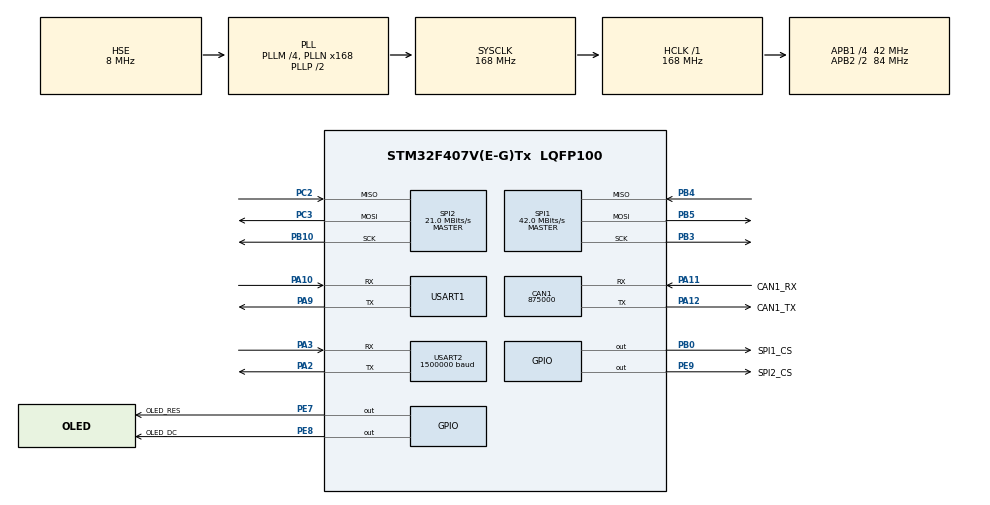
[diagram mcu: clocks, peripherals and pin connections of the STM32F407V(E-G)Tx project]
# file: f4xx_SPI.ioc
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CAN1.CalculateBaudRate=875000
CAN1.CalculateTimeBit=1142
CAN1.CalculateTimeQuantum=380.95238095238096
Dma.Request0=USART1_RX
Dma.Request1=USART1_TX
Dma.Request2=SPI1_RX
Dma.Request3=SPI1_TX
Dma.Request4=SPI2_RX
Dma.Request5=SPI2_TX
Dma.Request6=USART2_RX
Dma.Request7=USART2_TX
Dma.SPI1_RX.2.Direction=DMA_PERIPH_TO_MEMORY
Dma.SPI1_RX.2.FIFOMode=DMA_FIFOMODE_DISABLE
Dma.SPI1_RX.2.Instance=DMA2_Stream0
Dma.SPI1_RX.2.MemDataAlignment=DMA_MDATAALIGN_BYTE
Dma.SPI1_RX.2.MemInc=DMA_MINC_ENABLE
Dma.SPI1_RX.2.Mode=DMA_NORMAL
Dma.SPI1_RX.2.PeriphDataAlignment=DMA_PDATAALIGN_BYTE
Dma.SPI1_RX.2.PeriphInc=DMA_PINC_DISABLE
Dma.SPI1_RX.2.Priority=DMA_PRIORITY_HIGH
Dma.SPI1_TX.3.Direction=DMA_MEMORY_TO_PERIPH
Dma.SPI1_TX.3.FIFOMode=DMA_FIFOMODE_DISABLE
Dma.SPI1_TX.3.Instance=DMA2_Stream3
Dma.SPI1_TX.3.MemDataAlignment=DMA_MDATAALIGN_BYTE
Dma.SPI1_TX.3.MemInc=DMA_MINC_ENABLE
Dma.SPI1_TX.3.Mode=DMA_NORMAL
Dma.SPI1_TX.3.PeriphDataAlignment=DMA_PDATAALIGN_BYTE
Dma.SPI1_TX.3.PeriphInc=DMA_PINC_DISABLE
Dma.SPI1_TX.3.Priority=DMA_PRIORITY_HIGH
Dma.SPI2_RX.4.Direction=DMA_PERIPH_TO_MEMORY
Dma.SPI2_RX.4.FIFOMode=DMA_FIFOMODE_DISABLE
Dma.SPI2_RX.4.Instance=DMA1_Stream3
Dma.SPI2_RX.4.MemDataAlignment=DMA_MDATAALIGN_BYTE
Dma.SPI2_RX.4.MemInc=DMA_MINC_ENABLE
Dma.SPI2_RX.4.Mode=DMA_NORMAL
Dma.SPI2_RX.4.PeriphDataAlignment=DMA_PDATAALIGN_BYTE
Dma.SPI2_RX.4.PeriphInc=DMA_PINC_DISABLE
Dma.SPI2_RX.4.Priority=DMA_PRIORITY_VERY_HIGH
Dma.SPI2_TX.5.Direction=DMA_MEMORY_TO_PERIPH
Dma.SPI2_TX.5.FIFOMode=DMA_FIFOMODE_DISABLE
Dma.SPI2_TX.5.Instance=DMA1_Stream4
Dma.SPI2_TX.5.MemDataAlignment=DMA_MDATAALIGN_BYTE
Dma.SPI2_TX.5.MemInc=DMA_MINC_ENABLE
Dma.SPI2_TX.5.Mode=DMA_NORMAL
Dma.SPI2_TX.5.PeriphDataAlignment=DMA_PDATAALIGN_BYTE
Dma.SPI2_TX.5.PeriphInc=DMA_PINC_DISABLE
Dma.SPI2_TX.5.Priority=DMA_PRIORITY_VERY_HIGH
Dma.USART1_RX.0.Direction=DMA_PERIPH_TO_MEMORY
Dma.USART1_RX.0.FIFOMode=DMA_FIFOMODE_DISABLE
Dma.USART1_RX.0.Instance=DMA2_Stream2
Dma.USART1_RX.0.MemDataAlignment=DMA_MDATAALIGN_BYTE
Dma.USART1_RX.0.MemInc=DMA_MINC_ENABLE
Dma.USART1_RX.0.Mode=DMA_NORMAL
Dma.USART1_RX.0.PeriphDataAlignment=DMA_PDATAALIGN_BYTE
Dma.USART1_RX.0.PeriphInc=DMA_PINC_DISABLE
Dma.USART1_RX.0.Priority=DMA_PRIORITY_LOW
Dma.USART1_TX.1.Direction=DMA_MEMORY_TO_PERIPH
Dma.USART1_TX.1.FIFOMode=DMA_FIFOMODE_DISABLE
Dma.USART1_TX.1.Instance=DMA2_Stream7
Dma.USART1_TX.1.MemDataAlignment=DMA_MDATAALIGN_BYTE
Dma.USART1_TX.1.MemInc=DMA_MINC_ENABLE
Dma.USART1_TX.1.Mode=DMA_NORMAL
Dma.USART1_TX.1.PeriphDataAlignment=DMA_PDATAALIGN_BYTE
Dma.USART1_TX.1.PeriphInc=DMA_PINC_DISABLE
Dma.USART1_TX.1.Priority=DMA_PRIORITY_LOW
Dma.USART2_RX.6.Direction=DMA_PERIPH_TO_MEMORY
Dma.USART2_RX.6.FIFOMode=DMA_FIFOMODE_DISABLE
Dma.USART2_RX.6.Instance=DMA1_Stream5
Dma.USART2_RX.6.MemDataAlignment=DMA_MDATAALIGN_BYTE
Dma.USART2_RX.6.MemInc=DMA_MINC_ENABLE
Dma.USART2_RX.6.Mode=DMA_NORMAL
Dma.USART2_RX.6.PeriphDataAlignment=DMA_PDATAALIGN_BYTE
Dma.USART2_RX.6.PeriphInc=DMA_PINC_DISABLE
Dma.USART2_RX.6.Priority=DMA_PRIORITY_HIGH
Dma.USART2_TX.7.Direction=DMA_MEMORY_TO_PERIPH
Dma.USART2_TX.7.FIFOMode=DMA_FIFOMODE_DISABLE
Dma.USART2_TX.7.Instance=DMA1_Stream6
Dma.USART2_TX.7.MemDataAlignment=DMA_MDATAALIGN_BYTE
Dma.USART2_TX.7.MemInc=DMA_MINC_ENABLE
Dma.USART2_TX.7.Mode=DMA_NORMAL
Dma.USART2_TX.7.PeriphDataAlignment=DMA_PDATAALIGN_BYTE
Dma.USART2_TX.7.PeriphInc=DMA_PINC_DISABLE
Dma.USART2_TX.7.Priority=DMA_PRIORITY_HIGH
Mcu.Family=STM32F4
Mcu.Name=STM32F407V(E-G)Tx
Mcu.Package=LQFP100
NVIC.CAN1_RX0_IRQn=true\:0\:0\:false\:false\:true\:true\:true\:true
NVIC.CAN1_RX1_IRQn=true\:0\:0\:false\:false\:true\:true\:true\:true
NVIC.CAN1_SCE_IRQn=true\:0\:0\:false\:false\:true\:true\:true\:true
NVIC.CAN1_TX_IRQn=true\:0\:0\:false\:false\:true\:true\:true\:true
NVIC.DMA1_Stream3_IRQn=true\:0\:0\:false\:false\:true\:false\:true\:true
NVIC.DMA1_Stream4_IRQn=true\:0\:0\:false\:false\:true\:false\:true\:true
NVIC.DMA1_Stream5_IRQn=true\:0\:0\:false\:false\:true\:false\:true\:true
NVIC.DMA1_Stream6_IRQn=true\:0\:0\:false\:false\:true\:false\:true\:true
NVIC.DMA2_Stream0_IRQn=true\:0\:0\:false\:false\:true\:false\:true\:true
NVIC.DMA2_Stream2_IRQn=true\:0\:0\:false\:false\:true\:false\:true\:true
NVIC.DMA2_Stream3_IRQn=true\:0\:0\:false\:false\:true\:false\:true\:true
NVIC.DMA2_Stream7_IRQn=true\:0\:0\:false\:false\:true\:false\:true\:true
NVIC.PriorityGroup=NVIC_PRIORITYGROUP_4
NVIC.SPI1_IRQn=true\:0\:0\:false\:false\:true\:true\:true\:true
NVIC.SPI2_IRQn=true\:0\:0\:false\:false\:true\:true\:true\:true
NVIC.TIM6_DAC_IRQn=true\:0\:0\:false\:false\:true\:true\:true\:true
NVIC.USART1_IRQn=true\:0\:0\:false\:false\:true\:true\:true\:true
NVIC.USART2_IRQn=true\:1\:0\:true\:false\:true\:true\:true\:true
PA10.Mode=Asynchronous
PA10.Signal=USART1_RX
PA11.GPIO_Label=CAN1_RX
PA11.Mode=CAN_Activate
PA11.Signal=CAN1_RX
PA12.GPIO_Label=CAN1_TX
PA12.GPIO_Speed=GPIO_SPEED_FREQ_VERY_HIGH
PA12.Mode=CAN_Activate
PA12.Signal=CAN1_TX
PA13.Mode=Trace_Synchro_1bit_SW
PA13.Signal=SYS_JTMS-SWDIO
PA14.Mode=Trace_Synchro_1bit_SW
PA14.Signal=SYS_JTCK-SWCLK
PA2.Mode=Asynchronous
PA2.Signal=USART2_TX
PA3.GPIO_PuPd=GPIO_PULLUP
PA3.Mode=Asynchronous
PA3.Signal=USART2_RX
PA9.Mode=Asynchronous
PA9.Signal=USART1_TX
PB0.GPIO_Label=SPI1_CS
PB0.GPIO_Speed=GPIO_SPEED_FREQ_VERY_HIGH
PB0.PinState=GPIO_PIN_SET
PB0.Signal=GPIO_Output
PB10.Mode=Full_Duplex_Master
PB10.Signal=SPI2_SCK
PB3.Mode=Full_Duplex_Master
PB3.Signal=SPI1_SCK
PB4.Mode=Full_Duplex_Master
PB4.Signal=SPI1_MISO
PB5.Mode=Full_Duplex_Master
PB5.Signal=SPI1_MOSI
PC14-OSC32_IN.Mode=LSE-External-Oscillator
PC14-OSC32_IN.Signal=RCC_OSC32_IN
PC15-OSC32_OUT.Mode=LSE-External-Oscillator
PC15-OSC32_OUT.Signal=RCC_OSC32_OUT
PC2.Mode=Full_Duplex_Master
PC2.Signal=SPI2_MISO
PC3.Mode=Full_Duplex_Master
PC3.Signal=SPI2_MOSI
PE2.Mode=Trace_Synchro_1bit_SW
PE2.Signal=SYS_TRACECLK
PE3.Mode=Trace_Synchro_1bit_SW
PE3.Signal=SYS_TRACED0
PE7.GPIO_Label=OLED_RES
PE7.GPIO_Speed=GPIO_SPEED_FREQ_VERY_HIGH
PE7.PinState=GPIO_PIN_SET
PE7.Signal=GPIO_Output
PE8.GPIO_Label=OLED_DC
PE8.GPIO_Speed=GPIO_SPEED_FREQ_VERY_HIGH
PE8.PinState=GPIO_PIN_SET
PE8.Signal=GPIO_Output
PE9.GPIO_Label=SPI2_CS
PE9.GPIO_Speed=GPIO_SPEED_FREQ_VERY_HIGH
PE9.PinState=GPIO_PIN_SET
PE9.Signal=GPIO_Output
PH0-OSC_IN.Mode=HSE-External-Oscillator
PH0-OSC_IN.Signal=RCC_OSC_IN
PH1-OSC_OUT.Mode=HSE-External-Oscillator
PH1-OSC_OUT.Signal=RCC_OSC_OUT
ProjectManager.HeapSize=0x2000
ProjectManager.StackSize=0x2000
ProjectManager.TargetToolchain=SW4STM32
RCC.48MHZClocksFreq_Value=84000000
RCC.AHBFreq_Value=168000000
RCC.APB1CLKDivider=RCC_HCLK_DIV4
RCC.APB1Freq_Value=42000000
RCC.APB1TimFreq_Value=84000000
RCC.APB2CLKDivider=RCC_HCLK_DIV2
RCC.APB2Freq_Value=84000000
RCC.APB2TimFreq_Value=168000000
RCC.CortexFreq_Value=168000000
RCC.HCLKFreq_Value=168000000
RCC.HSE_VALUE=8000000
RCC.HSI_VALUE=16000000
RCC.PLLM=4
RCC.PLLN=168
RCC.PLLSourceVirtual=RCC_PLLSOURCE_HSE
RCC.SYSCLKFreq_VALUE=168000000
RCC.SYSCLKSource=RCC_SYSCLKSOURCE_PLLCLK
RCC.VCOOutputFreq_Value=336000000
SPI1.BaudRatePrescaler=SPI_BAUDRATEPRESCALER_2
SPI1.CalculateBaudRate=42.0 MBits/s
SPI1.Direction=SPI_DIRECTION_2LINES
SPI1.Mode=SPI_MODE_MASTER
SPI1.VirtualType=VM_MASTER
SPI2.BaudRatePrescaler=SPI_BAUDRATEPRESCALER_2
SPI2.CalculateBaudRate=21.0 MBits/s
SPI2.DataSize=SPI_DATASIZE_8BIT
SPI2.Direction=SPI_DIRECTION_2LINES
SPI2.Mode=SPI_MODE_MASTER
SPI2.VirtualType=VM_MASTER
TIM6.AutoReloadPreload=TIM_AUTORELOAD_PRELOAD_ENABLE
TIM6.Period=99
TIM6.Prescaler=83
USART1.VirtualMode=VM_ASYNC
USART2.BaudRate=1500000
USART2.VirtualMode=VM_ASYNC
VP_TIM6_VS_ClockSourceINT.Mode=Enable_Timer
board=custom

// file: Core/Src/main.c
/* USER CODE BEGIN Header */
/**
  ******************************************************************************
  * @file           : main.c
  * @brief          : Main program body
  ******************************************************************************
  * @attention
  *
  * Copyright (c) 2022 STMicroelectronics.
  * All rights reserved.
  *
  * This software is licensed under terms that can be found in the LICENSE file
  * in the root directory of this software component.
  * If no LICENSE file comes with this software, it is provided AS-IS.
  *
  ******************************************************************************
  */
/* USER CODE END Header */
#include "main.h"
#include "can.h"
#include "dma.h"
#include "spi.h"
#include "tim.h"
#include "usart.h"
#include "gpio.h"

/* USER CODE BEGIN Includes */

#include "log.h"
#include "bsp_flash.h"
#include "w25qxx/driver_w25qxx.h"
#include "display/display.h"
#include "display/display_test.h"
#include "gui/lvgl.h"
#include "gui/lv_drv/lv_drv.h"
#include "app/app.h"
/* USER CODE END Includes */

void SystemClock_Config(void);

/* USER CODE BEGIN 0 */

extern uint32_t my_lv_tick_count;

/* USER CODE END 0 */

int main(void)
{

  /* MCU Configuration--------------------------------------------------------*/

  /* Reset of all peripherals, Initializes the Flash interface and the Systick. */
  HAL_Init();

  /* Configure the system clock */
  SystemClock_Config();

  /* Initialize all configured peripherals */
  MX_GPIO_Init();
  MX_DMA_Init();
  MX_USART1_UART_Init();
  MX_SPI1_Init();
  MX_SPI2_Init();
  MX_TIM6_Init();
  MX_CAN1_Init();
  MX_USART2_UART_Init();
  /* USER CODE BEGIN 2 */

//    W25QXX_Init();
    W25qxx_Init();
//    W25qxx_EraseChip();

    lv_init();
    lv_drv_init();

//    DISPLAY_Init();

    LOGD("--->f4xx start...");

    flash_driver_w25qxx_test();

    app_run();

  /* USER CODE END 2 */

  /* Infinite loop */
  /* USER CODE BEGIN WHILE */
    while (1) {

        lv_timer_handler();
        HAL_Delay(10);

    /* USER CODE END WHILE */

    /* USER CODE BEGIN 3 */

//        LOGD("--->my_lv_tick_count:%lu", my_lv_tick_count);

//        DISPLAY_test();
//        ssd1306_TestAll();

    }
  /* USER CODE END 3 */
}

void SystemClock_Config(void)
{
  RCC_OscInitTypeDef RCC_OscInitStruct = {0};
  RCC_ClkInitTypeDef RCC_ClkInitStruct = {0};

  /** Configure the main internal regulator output voltage
  */
  __HAL_RCC_PWR_CLK_ENABLE();
  __HAL_PWR_VOLTAGESCALING_CONFIG(PWR_REGULATOR_VOLTAGE_SCALE1);

  /** Initializes the RCC Oscillators according to the specified parameters
  * in the RCC_OscInitTypeDef structure.
  */
  RCC_OscInitStruct.OscillatorType = RCC_OSCILLATORTYPE_HSE;
  RCC_OscInitStruct.HSEState = RCC_HSE_ON;
  RCC_OscInitStruct.PLL.PLLState = RCC_PLL_ON;
  RCC_OscInitStruct.PLL.PLLSource = RCC_PLLSOURCE_HSE;
  RCC_OscInitStruct.PLL.PLLM = 4;
  RCC_OscInitStruct.PLL.PLLN = 168;
  RCC_OscInitStruct.PLL.PLLP = RCC_PLLP_DIV2;
  RCC_OscInitStruct.PLL.PLLQ = 4;
  if (HAL_RCC_OscConfig(&RCC_OscInitStruct) != HAL_OK)
  {
    Error_Handler();
  }

  /** Initializes the CPU, AHB and APB buses clocks
  */
  RCC_ClkInitStruct.ClockType = RCC_CLOCKTYPE_HCLK|RCC_CLOCKTYPE_SYSCLK
                              |RCC_CLOCKTYPE_PCLK1|RCC_CLOCKTYPE_PCLK2;
  RCC_ClkInitStruct.SYSCLKSource = RCC_SYSCLKSOURCE_PLLCLK;
  RCC_ClkInitStruct.AHBCLKDivider = RCC_SYSCLK_DIV1;
  RCC_ClkInitStruct.APB1CLKDivider = RCC_HCLK_DIV4;
  RCC_ClkInitStruct.APB2CLKDivider = RCC_HCLK_DIV2;

  if (HAL_RCC_ClockConfig(&RCC_ClkInitStruct, FLASH_LATENCY_5) != HAL_OK)
  {
    Error_Handler();
  }
}

void Error_Handler(void)
{
    __disable_irq();
    while (1) {
    }
}
